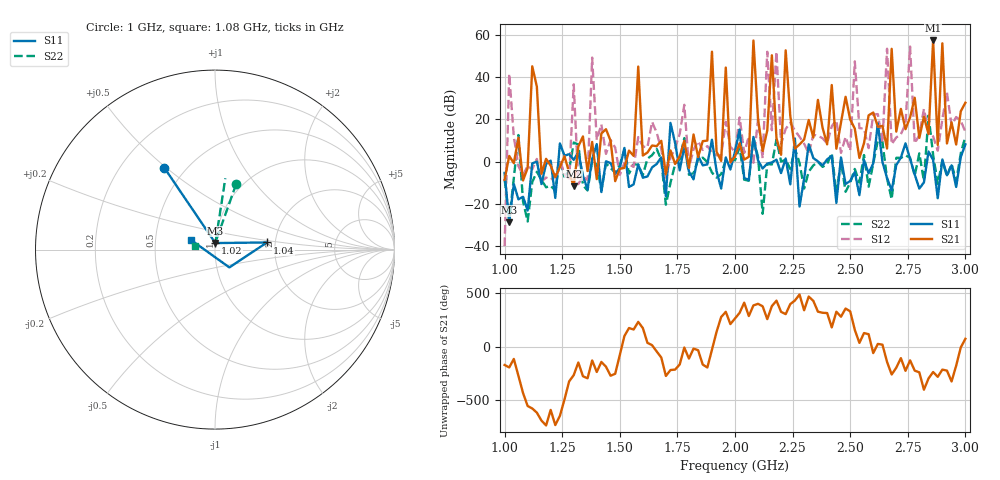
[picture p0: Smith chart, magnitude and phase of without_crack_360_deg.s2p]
# MHz S MA R 50
!  freq  S11  S21  S12  S22
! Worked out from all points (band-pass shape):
!   101 points, 1 GHz to 3 GHz, reference 50 ohm
!   highest |S21| = 57.46 dB at 2.86 GHz (marker M1); lowest = -11.7 dB at 1.3 GHz (marker M2)
!   |S21| within 3 dB of the highest: 2.078923 GHz to 2.081595 GHz (2.671 MHz wide, 0.128 % of centre); 2.858649 GHz to 2.86121 GHz (2.561 MHz wide, 0.0895 % of centre) (the widest 2 of 3)
!   lowest |S11| = -28.8 dB at 1.02 GHz (marker M3), VSWR 1.08, Z = 50.1 + j3.65 ohm
!   |S11| at or under -10 dB: 1.004 GHz to 1.112 GHz (107.9 MHz wide, 10.2 % of centre); 1.15877 GHz to 1.161374 GHz (2.604 MHz wide, 0.224 % of centre); 1.538 GHz to 1.562 GHz (23.98 MHz wide, 1.55 % of centre) (the widest 3 of 17)
!   |S22| runs from -28.4 to 21.8 dB; largest |S21 - S12| = 7.5e+02
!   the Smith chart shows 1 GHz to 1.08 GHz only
!   S11 on the Smith chart (normalised r, x): 1 GHz: 0.38, +0.49; 1.02 GHz: 1.00, +0.07; 1.04 GHz: 1.81, +0.16; 1.08 GHz: 0.76, +0.08
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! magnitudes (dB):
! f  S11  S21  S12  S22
! 1 GHz  -5.4  -8.6  -40.1  -8.3
! 1.02 GHz  -28.8  2.7  41.7  -27.5
! 1.04 GHz  -10.7  -0.8  11.7  -7.9
! 1.08 GHz  -16.7  -9.0  -6.5  -18.9
! 1.12 GHz  -0.9  45.2  -3.7  -9.7
! 1.3 GHz  0.8  -11.7  36.7  9.0
! 1.34 GHz  -6.7  11.9  -7.0  -11.2
! 1.38 GHz  1.2  9.3  49.3  0.1
! 1.68 GHz  2.0  9.8  6.0  0.7
! 1.9 GHz  10.4  52.1  4.4  -5.2
! 2 GHz  4.7  2.4  4.7  0.6
! 2.08 GHz  11.7  57.4  -0.6  11.3
! 2.14 GHz  -1.0  14.8  52.1  -1.2
! 2.34 GHz  1.7  11.4  12.7  -1.8
! 2.66 GHz  -7.8  6.2  53.5  -8.1
! 2.68 GHz  -13.7  53.5  8.3  -17.9
! 2.76 GHz  1.2  21.0  54.6  1.8
! 2.8 GHz  -12.8  11.2  12.6  3.9
! 2.86 GHz  0.7  57.5  11.9  3.2
! 2.88 GHz  -17.4  7.9  5.2  -10.6
! 2.9 GHz  1.0  56.1  20.1  0.4
! 3 GHz  8.2  27.9  14.2  11.9
